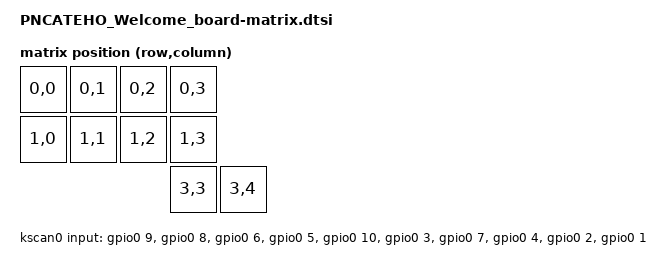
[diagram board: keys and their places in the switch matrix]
/*
 * Copyright (c) 2020 The ZMK Contributors
 *
 * SPDX-License-Identifier: MIT
 */

#include <dt-bindings/zmk/matrix_transform.h>

/ {
    default_transform: keymap_transform_0 {
        compatible = "zmk,matrix-transform";
        columns = <5>;
        rows = <3>;
        map = <
        RC(0,0) RC(0,1) RC(0,2) RC(0,3)
        RC(1,0) RC(1,1) RC(1,2) RC(1,3)
                                RC(3,3) RC(3,4)
            >;
    };

    kscan0: kscan {
        compatible = "zmk,kscan-gpio-direct";
        label = "KSCAN";

        input-gpios
            = <&gpio0  9 (GPIO_ACTIVE_LOW | GPIO_PULL_UP)>
            , <&gpio0  8 (GPIO_ACTIVE_LOW | GPIO_PULL_UP)>
            , <&gpio0  6 (GPIO_ACTIVE_LOW | GPIO_PULL_UP)>
            , <&gpio0  5 (GPIO_ACTIVE_LOW | GPIO_PULL_UP)>
            , <&gpio0 10 (GPIO_ACTIVE_LOW | GPIO_PULL_UP)>
            , <&gpio0  3 (GPIO_ACTIVE_LOW | GPIO_PULL_UP)>
            , <&gpio0  7 (GPIO_ACTIVE_LOW | GPIO_PULL_UP)>
            , <&gpio0  4 (GPIO_ACTIVE_LOW | GPIO_PULL_UP)>
            , <&gpio0  2 (GPIO_ACTIVE_LOW | GPIO_PULL_UP)>
            , <&gpio0  1 (GPIO_ACTIVE_LOW | GPIO_PULL_UP)>
            ;
    };
};

